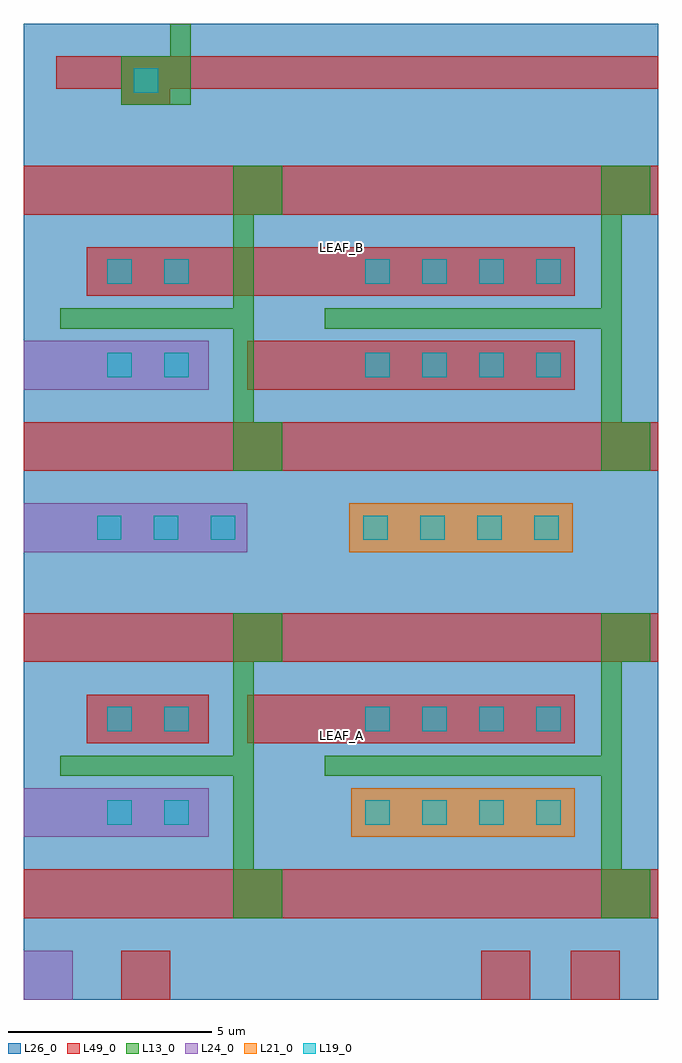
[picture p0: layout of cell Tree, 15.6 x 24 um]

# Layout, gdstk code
import gdstk
lib = gdstk.Library(unit=1e-6, precision=1e-09)
def R(c, l, rs):  # rectangles x0, y0, x1, y1
    for r in rs: c.add(gdstk.rectangle(r[:2], r[2:], *l))
def A(c, l, x, y, w, h, nx, ny, dx, dy):  # array of equal rectangles
    R(c, l, [(x+i*dx, y+j*dy, x+i*dx+w, y+j*dy+h) for i in range(nx) for j in range(ny)])
def P(c, l, *ps):  # polygons
    for p in ps: c.add(gdstk.Polygon(p, *l))
L13_0 = (13, 0)
L19_0 = (19, 0)
L21_0 = (21, 0)
L24_0 = (24, 0)
L26_0 = (26, 0)
L49_0 = (49, 0)

leaf_b = lib.new_cell('LEAF_B')
P(leaf_b, L13_0, [(7.4,4),(14.2,4),(14.2,7.5),(15.4,7.5),(15.4,6.3),(14.7,6.3),(14.7,1.2),(15.4,1.2),(15.4,0),(14.2,0),(14.2,3.5),(7.4,3.5)],
  [(2.4,10.2),(3.6,10.2),(3.6,11),(4.1,11),(4.1,9),(2.4,9)],
  [(0.9,4),(5.15,4),(5.15,7.5),(6.35,7.5),(6.35,6.3),(5.65,6.3),(5.65,1.2),(6.35,1.2),(6.35,0),(5.15,0),(5.15,3.5),(0.9,3.5)])
A(leaf_b, L19_0, 8.4, 2.3, 0.6, 0.6, 4, 2, 1.4, 2.3)
R(leaf_b, L19_0, [(2.05,2.3,2.65,2.9), (3.45,2.3,4.05,2.9), (2.05,4.6,2.65,5.2), (3.45,4.6,4.05,5.2), (2.7,9.3,3.3,9.9)])
R(leaf_b, L24_0, [(0,2,4.55,3.2)])
R(leaf_b, L26_0, [(0,0,15.6,11)])
R(leaf_b, L49_0, [(0,0,15.6,1.2), (5.5,2,13.55,3.2), (1.55,4.3,13.55,5.5), (0,6.3,15.6,7.5)])
P(leaf_b, L49_0, [(0.8,10.2),(15.6,10.2),(15.6,9.4),(3.6,9.4),(3.6,9),(2.4,9),(2.4,9.4),(0.8,9.4)])
leaf_b.add(gdstk.Label('+', (3.85,11), layer=13, texttype=0))
leaf_b.add(gdstk.Label('+', (5.75,0.6), layer=19, texttype=0))
leaf_b.add(gdstk.Label('+', (14.8,0.6), layer=19, texttype=0))
leaf_b.add(gdstk.Label('+', (14.8,6.9), layer=19, texttype=0))
leaf_b.add(gdstk.Label('+', (5.75,6.9), layer=19, texttype=0))

leaf_a = lib.new_cell('LEAF_A')
P(leaf_a, L13_0, [(0.9,6),(5.15,6),(5.15,9.5),(6.35,9.5),(6.35,8.3),(5.65,8.3),(5.65,3.2),(6.35,3.2),(6.35,2),(5.15,2),(5.15,5.5),(0.9,5.5)],
  [(7.4,6),(14.2,6),(14.2,9.5),(15.4,9.5),(15.4,8.3),(14.7,8.3),(14.7,3.2),(15.4,3.2),(15.4,2),(14.2,2),(14.2,5.5),(7.4,5.5)])
A(leaf_a, L19_0, 8.4, 4.3, 0.6, 0.6, 4, 2, 1.4, 2.3)
A(leaf_a, L19_0, 1.8, 11.3, 0.6, 0.6, 3, 1, 1.4, 0)
A(leaf_a, L19_0, 8.35, 11.3, 0.6, 0.6, 4, 1, 1.4, 0)
R(leaf_a, L19_0, [(2.05,4.3,2.65,4.9), (3.45,4.3,4.05,4.9), (2.05,6.6,2.65,7.2), (3.45,6.6,4.05,7.2)])
R(leaf_a, L21_0, [(8.05,4,13.55,5.2), (8,11,13.5,12.2)])
R(leaf_a, L24_0, [(0,0,1.2,1.2), (0,4,4.55,5.2), (0,11,5.5,12.2)])
R(leaf_a, L26_0, [(0,0,15.6,13)])
R(leaf_a, L49_0, [(2.4,0,3.6,1.2), (11.25,0,12.45,1.2), (13.45,0,14.65,1.2), (0,2,15.6,3.2), (1.55,6.3,4.55,7.5), (5.5,6.3,13.55,7.5), (0,8.3,15.6,9.5)])
leaf_a.add(gdstk.Label('+', (5.75,2.6), layer=19, texttype=0))
leaf_a.add(gdstk.Label('+', (14.8,2.6), layer=19, texttype=0))
leaf_a.add(gdstk.Label('+', (14.8,8.9), layer=19, texttype=0))
leaf_a.add(gdstk.Label('+', (5.75,8.9), layer=19, texttype=0))

tree = lib.new_cell('Tree')
R(tree, L26_0, [(0,0,15.6,24)])
tree.add(gdstk.Reference(leaf_b, (0,13)))
tree.add(gdstk.Reference(leaf_a, (0,0)))
tree.add(gdstk.Label('LEAF_B', (7.8,18.5), layer=26, texttype=0))
tree.add(gdstk.Label('LEAF_A', (7.8,6.5), layer=26, texttype=0))

lib.write_gds('Tree.gds')
